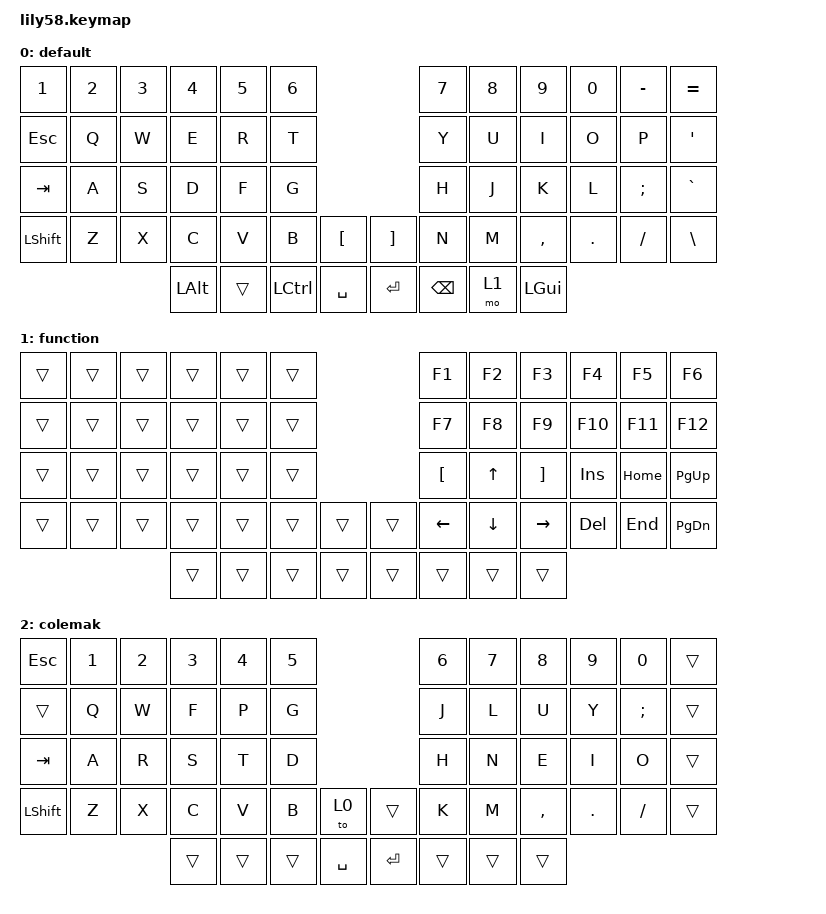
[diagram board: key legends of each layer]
#include <behaviors.dtsi>
#include <dt-bindings/zmk/keys.h>

/ {
    combos {
        compatible = "zmk,combos";

        Colemak {
            bindings = <&to 2>;
            key-positions = <11 23>;
        };
    };

    keymap {
        compatible = "zmk,keymap";

        default {
            bindings = <
&kp N1      &kp N2  &kp N3  &kp N4        &kp N5  &kp N6                                            &kp N7         &kp N8  &kp N9        &kp N0   &kp MINUS  &kp EQUAL
&kp ESC     &kp Q   &kp W   &kp E         &kp R   &kp T                                             &kp Y          &kp U   &kp I         &kp O    &kp P      &kp APOS
&kp TAB     &kp A   &kp S   &kp D         &kp F   &kp G                                             &kp H          &kp J   &kp K         &kp L    &kp SEMI   &kp GRAVE
&kp LSHIFT  &kp Z   &kp X   &kp C         &kp V   &kp B      &kp LEFT_BRACKET    &kp RIGHT_BRACKET  &kp N          &kp M   &kp COMMA     &kp DOT  &kp FSLH   &kp BACKSLASH
                            &kp LEFT_ALT  &trans  &kp LCTRL  &kp SPACE           &kp RET            &kp BACKSPACE  &mo 1   &kp LEFT_GUI
            >;
        };

        function {
            bindings = <
&trans  &trans  &trans  &trans  &trans  &trans                    &kp F1            &kp F2          &kp F3             &kp F4      &kp F5    &kp F6
&trans  &trans  &trans  &trans  &trans  &trans                    &kp F7            &kp F8          &kp F9             &kp F10     &kp F11   &kp F12
&trans  &trans  &trans  &trans  &trans  &trans                    &kp LEFT_BRACKET  &kp UP_ARROW    &kp RIGHT_BRACKET  &kp INS     &kp HOME  &kp PAGE_UP
&trans  &trans  &trans  &trans  &trans  &trans  &trans    &trans  &kp LEFT_ARROW    &kp DOWN_ARROW  &kp RIGHT_ARROW    &kp DELETE  &kp END   &kp PAGE_DOWN
                        &trans  &trans  &trans  &trans    &trans  &trans            &trans          &trans
            >;
        };

        colemak {
            bindings = <
&kp ESC    &kp N1  &kp N2  &kp N3  &kp N4  &kp N5                          &kp N6  &kp N7  &kp N8     &kp N9   &kp N0    &trans
&trans     &kp Q   &kp W   &kp F   &kp P   &kp G                           &kp J   &kp L   &kp U      &kp Y    &kp SEMI  &trans
&kp TAB    &kp A   &kp R   &kp S   &kp T   &kp D                           &kp H   &kp N   &kp E      &kp I    &kp O     &trans
&kp LSHFT  &kp Z   &kp X   &kp C   &kp V   &kp B   &to 0        &trans     &kp K   &kp M   &kp COMMA  &kp DOT  &kp FSLH  &trans
                           &trans  &trans  &trans  &kp SPACE    &kp ENTER  &trans  &trans  &trans
            >;
        };
    };

    conditional_layers { compatible = "zmk,conditional-layers"; };
};
